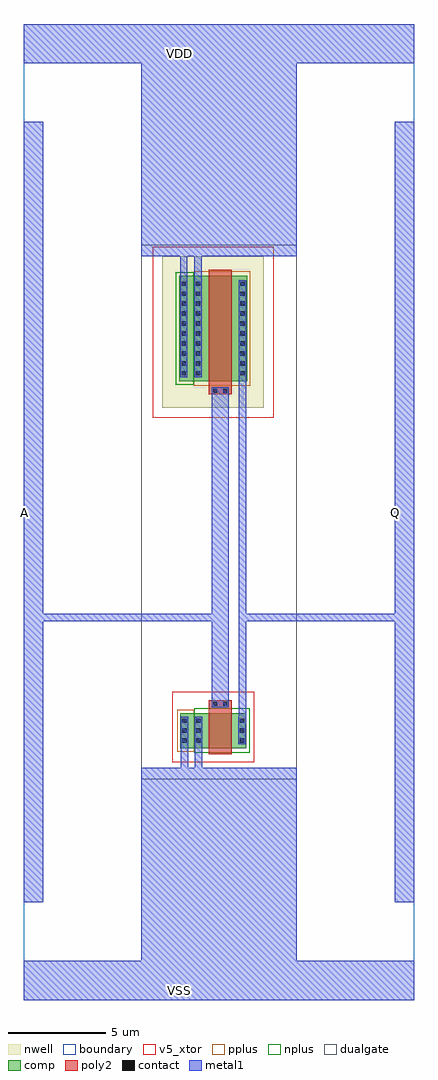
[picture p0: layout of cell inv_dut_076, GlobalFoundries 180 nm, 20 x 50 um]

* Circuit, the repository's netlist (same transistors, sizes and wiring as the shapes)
* inv_dut_076: pfet_05v0 W=5.40u L=1.20u / nfet_05v0 W=1.80u L=1.20u
.SUBCKT inv_dut_076 A Q VDD VSS
MMP Q A VDD VDD pfet_05v0 W=5.40u L=1.20u
MMN Q A VSS VSS nfet_05v0 W=1.80u L=1.20u
.ENDS

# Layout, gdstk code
import gdstk
lib = gdstk.Library(unit=1e-6, precision=1e-09)
def R(c, l, rs):  # rectangles x0, y0, x1, y1
    for r in rs: c.add(gdstk.rectangle(r[:2], r[2:], *l))
def A(c, l, x, y, w, h, nx, ny, dx, dy):  # array of equal rectangles
    R(c, l, [(x+i*dx, y+j*dy, x+i*dx+w, y+j*dy+h) for i in range(nx) for j in range(ny)])
boundary = (0, 0)
nwell = (21, 0)
comp = (22, 0)
poly2 = (30, 0)
pplus = (31, 0)
nplus = (32, 0)
contact = (33, 0)
metal1 = (34, 0)
dualgate = (55, 0)
v5_xtor = (112, 1)

inv_dut_076 = lib.new_cell('inv_dut_076')
R(inv_dut_076, boundary, [(-10,-25,10,25)])
R(inv_dut_076, nwell, [(-2.895,5.33,2.295,13.09)])
R(inv_dut_076, comp, [(-1.975,-12.1,1.395,-10.3), (-2.035,6.7,1.435,12.1)])
R(inv_dut_076, poly2, [(-0.535,-12.4,0.665,-9.64), (-0.535,6.02,0.665,12.4)])
R(inv_dut_076, pplus, [(-2.145,-12.27,-1.265,-10.13), (-1.305,6.46,1.605,12.34)])
R(inv_dut_076, nplus, [(-1.265,-12.34,1.565,-10.06), (-2.205,6.53,-1.305,12.27)])
A(inv_dut_076, contact, -1.875, -11.82, 0.22, 0.22, 1, 3, 0, 0.51)
A(inv_dut_076, contact, -1.165, -11.82, 0.22, 0.22, 1, 3, 0, 0.51)
A(inv_dut_076, contact, 1.075, -11.82, 0.22, 0.22, 1, 3, 0, 0.51)
A(inv_dut_076, contact, -1.915, 6.995, 0.22, 0.22, 1, 10, 0, 0.51)
A(inv_dut_076, contact, -1.185, 6.995, 0.22, 0.22, 1, 10, 0, 0.51)
A(inv_dut_076, contact, 1.095, 6.995, 0.22, 0.22, 1, 10, 0, 0.51)
R(inv_dut_076, contact, [(-0.3,-9.93,-0.08,-9.71), (0.21,-9.93,0.43,-9.71), (-0.3,6.1,-0.08,6.32), (0.21,6.1,0.43,6.32)])
R(inv_dut_076, metal1, [(-10,-25,10,-23), (-3.995,-23,3.995,-13.4), (-10,-20,-9,20), (9,-20,10,20), (-3.995,-13.7,3.995,-13.1), (-1.955,-13.7,-1.575,-10.5), (-1.245,-13.7,-0.865,-10.5), (-1.955,-11.9,-1.575,-10.5), (-1.245,-11.9,-0.865,-10.5), (0.995,-11.9,1.375,-10.5), (0.995,-10.88,1.395,-10.5), (1.015,-10.88,1.395,7.295), (-0.38,-10.01,0.51,6.4), (-0.38,-10.01,0.51,-9.63), (-9,-5.6,-3.695,-5.2), (-3.995,-5.6,0.51,-5.2), (1.015,-5.6,3.995,-5.2), (3.695,-5.6,9,-5.2), (-0.38,6.02,0.51,6.4), (-1.995,6.915,-1.615,13.7), (-1.995,6.915,-1.615,11.885), (-1.265,6.915,-0.885,13.7), (-1.265,6.915,-0.885,11.885), (1.015,6.915,1.395,7.295), (1.015,6.915,1.395,11.885), (-3.995,13.1,3.995,13.7), (-3.995,13.4,3.995,23), (-10,23,10,25)])
R(inv_dut_076, dualgate, [(-3.995,-13.7,3.995,13.7), (-2.395,-12.81,1.815,-9.22), (-3.395,4.83,2.795,13.59)])
R(inv_dut_076, v5_xtor, [(-2.395,-12.81,1.815,-9.22), (-3.395,4.83,2.795,13.59)])
inv_dut_076.add(gdstk.Label('VDD', (-2,23.5), layer=34, texttype=10))
inv_dut_076.add(gdstk.Label('VSS', (-2,-24.5), layer=34, texttype=10))
inv_dut_076.add(gdstk.Label('A', (-9.97,0), layer=34, texttype=10))
inv_dut_076.add(gdstk.Label('Q', (9.03,0), layer=34, texttype=10))

lib.write_gds('inv_dut_076.gds')
